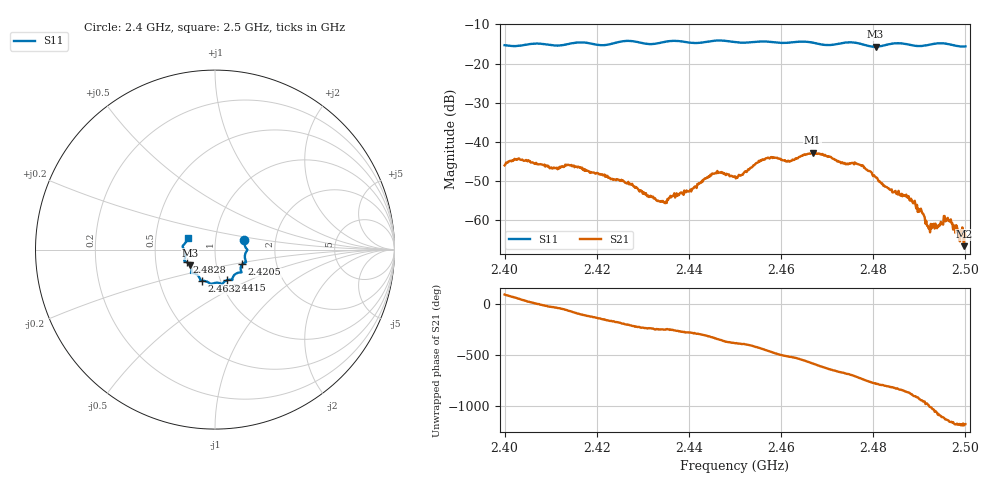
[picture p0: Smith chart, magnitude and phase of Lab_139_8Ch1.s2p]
# Hz S RI R
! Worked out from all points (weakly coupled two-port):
!   601 points, 2.4 GHz to 2.5 GHz, reference 50 ohm
!   highest |S21| = -42.73 dB at 2.4668 GHz (marker M1); lowest = -66.6 dB at 2.4997 GHz (marker M2)
!   lowest |S11| = -15.7 dB at 2.4805 GHz (marker M3), VSWR 1.39, Z = 37.3 - j6.68 ohm
!   |S11| at or under -10 dB: start of sweep to end of sweep
!   S12 and S22 are empty: the file has one direction only
!   S11 on the Smith chart (normalised r, x): 2.4 GHz: 1.38, +0.15; 2.4205 GHz: 1.34, -0.23; 2.4415 GHz: 1.07, -0.38; 2.4632 GHz: 0.82, -0.29; 2.4828 GHz: 0.72, -0.10; 2.5 GHz: 0.73, +0.10
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2.4e9  0.1637 0.0519  -0.000411 0.00502  0 0  0 0
2.402667e9  0.1664 0.0219  0.00304 0.00509  0 0  0 0
2.416667e9  0.1729 -0.07  -0.000973 -0.00451  0 0  0 0
2.4205e9  0.152 -0.0817  -0.00291 -0.00257  0 0  0 0
2.427333e9  0.1467 -0.1272  -0.00257 0.00133  0 0  0 0
2.433333e9  0.1004 -0.1515  -0.000782 0.00161  0 0  0 0
2.4415e9  0.0656 -0.1706  0.00084 0.00257  0 0  0 0
2.445667e9  0.0419 -0.1918  0.00363 0.00164  0 0  0 0
2.45e9  0.0243 -0.1862  0.00341 -0.00131  0 0  0 0
2.456667e9  -0.0246 -0.1898  1.88e-05 -0.0062  0 0  0 0
2.463167e9  -0.0733 -0.1738  -0.00605 -0.00135  0 0  0 0
2.466667e9  -0.0821 -0.167  -0.00571 0.00436  0 0  0 0
2.466833e9  -0.0824 -0.166  -0.00559 0.0047  0 0  0 0
2.4765e9  -0.133 -0.1257  0.00522 0.000492  0 0  0 0
2.4805e9  -0.1389 -0.0872  0.00208 -0.00292  0 0  0 0
2.482833e9  -0.1586 -0.0699  0.00037 -0.00265  0 0  0 0
2.483333e9  -0.1625 -0.0679  0.000199 -0.00257  0 0  0 0
2.488667e9  -0.1656 -0.0393  -0.00165 -0.000123  0 0  0 0
2.492167e9  -0.1741 0.00304  0.000192 0.000804  0 0  0 0
2.495833e9  -0.1779 0.0231  0.000644 -0.000754  0 0  0 0
2.499667e9  -0.1539 0.0597  -0.00015 -0.000445  0 0  0 0
2.5e9  -0.1526 0.0645  -5.64e-05 -0.00063  0 0  0 0
